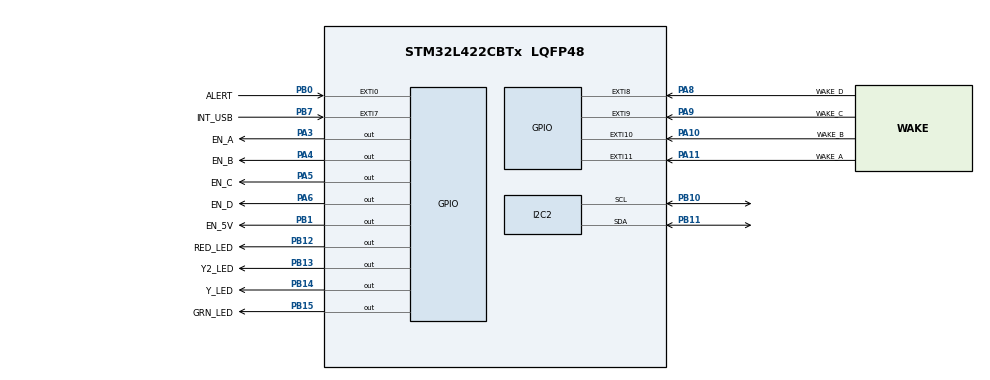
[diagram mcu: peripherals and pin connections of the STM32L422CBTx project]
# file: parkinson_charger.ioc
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I2C2.Timing=0x00100D14
Mcu.Family=STM32L4
Mcu.Name=STM32L422CBTx
Mcu.Package=LQFP48
NVIC.PriorityGroup=NVIC_PRIORITYGROUP_4
PA10.GPIO_Label=WAKE_B
PA10.GPIO_ModeDefaultEXTI=GPIO_MODE_IT_FALLING
PA10.Signal=GPXTI10
PA11.GPIO_Label=WAKE_A
PA11.GPIO_ModeDefaultEXTI=GPIO_MODE_IT_FALLING
PA11.Signal=GPXTI11
PA13\ (JTMS/SWDIO).Mode=Trace_Asynchronous_SW
PA13\ (JTMS/SWDIO).Signal=SYS_JTMS-SWDIO
PA14\ (JTCK/SWCLK).Mode=Trace_Asynchronous_SW
PA14\ (JTCK/SWCLK).Signal=SYS_JTCK-SWCLK
PA3.GPIO_Label=EN_A
PA3.PinState=GPIO_PIN_SET
PA3.Signal=GPIO_Output
PA4.GPIO_Label=EN_B
PA4.PinState=GPIO_PIN_SET
PA4.Signal=GPIO_Output
PA5.GPIO_Label=EN_C
PA5.PinState=GPIO_PIN_SET
PA5.Signal=GPIO_Output
PA6.GPIO_Label=EN_D
PA6.PinState=GPIO_PIN_SET
PA6.Signal=GPIO_Output
PA8.GPIO_Label=WAKE_D
PA8.GPIO_ModeDefaultEXTI=GPIO_MODE_IT_FALLING
PA8.Signal=GPXTI8
PA9.GPIO_Label=WAKE_C
PA9.GPIO_ModeDefaultEXTI=GPIO_MODE_IT_FALLING
PA9.Signal=GPXTI9
PB0.GPIO_Label=ALERT
PB0.Signal=GPXTI0
PB1.GPIO_Label=EN_5V
PB1.PinState=GPIO_PIN_SET
PB1.Signal=GPIO_Output
PB10.Mode=I2C
PB10.Signal=I2C2_SCL
PB11.Mode=I2C
PB11.Signal=I2C2_SDA
PB12.GPIO_Label=RED_LED
PB12.PinState=GPIO_PIN_SET
PB12.Signal=GPIO_Output
PB13.GPIO_Label=Y2_LED
PB13.PinState=GPIO_PIN_SET
PB13.Signal=GPIO_Output
PB14.GPIO_Label=Y_LED
PB14.PinState=GPIO_PIN_SET
PB14.Signal=GPIO_Output
PB15.GPIO_Label=GRN_LED
PB15.PinState=GPIO_PIN_SET
PB15.Signal=GPIO_Output
PB3\ (JTDO/TRACESWO).Mode=Trace_Asynchronous_SW
PB3\ (JTDO/TRACESWO).Signal=SYS_JTDO-SWO
PB7.GPIO_Label=INT_USB
PB7.GPIO_ModeDefaultEXTI=GPIO_MODE_IT_FALLING
PB7.Signal=GPXTI7
PC14-OSC32_IN\ (PC14).Mode=LSE-External-Oscillator
PC14-OSC32_IN\ (PC14).Signal=RCC_OSC32_IN
PC15-OSC32_OUT\ (PC15).Mode=LSE-External-Oscillator
PC15-OSC32_OUT\ (PC15).Signal=RCC_OSC32_OUT
PH0-OSC_IN\ (PH0).Mode=HSE-External-Oscillator
PH0-OSC_IN\ (PH0).Signal=RCC_OSC_IN
PH1-OSC_OUT\ (PH1).Mode=HSE-External-Oscillator
PH1-OSC_OUT\ (PH1).Signal=RCC_OSC_OUT
ProjectManager.HeapSize=0x200
ProjectManager.StackSize=0x400
ProjectManager.TargetToolchain=STM32CubeIDE
RCC.ADCFreq_Value=4000000
RCC.HSE_VALUE=8000000
RCC.HSI48_VALUE=48000000
RCC.HSI_VALUE=16000000
RCC.MSI_VALUE=4000000
RCC.USBFreq_Value=4000000
RCC.VCOOutputFreq_Value=32000000
board=custom

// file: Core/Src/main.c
/* USER CODE BEGIN Header */
/**
  ******************************************************************************
  * @file           : main.c
  * @brief          : Main program body
  ******************************************************************************
  * @attention
  *
  * Copyright (c) 2026 STMicroelectronics.
  * All rights reserved.
  *
  * This software is licensed under terms that can be found in the LICENSE file
  * in the root directory of this software component.
  * If no LICENSE file comes with this software, it is provided AS-IS.
  *
  ******************************************************************************
  */
/* USER CODE END Header */
#include "main.h"

/* USER CODE BEGIN Includes */
//#include "BQ34Z100R2_driver.h"
#include "BQ25890_driver.h"

/* USER CODE END Includes */

I2C_HandleTypeDef hi2c2;

/* USER CODE BEGIN PV */
//BQ34Z100Z battMonitor;
BQ25890 battChgr;

/* USER CODE END PV */

void SystemClock_Config(void);
static void MX_GPIO_Init(void);
static void MX_I2C2_Init(void);

int main(void)
{

  /* MCU Configuration--------------------------------------------------------*/

  /* Reset of all peripherals, Initializes the Flash interface and the Systick. */
  HAL_Init();

  /* Configure the system clock */
  SystemClock_Config();

  /* Initialize all configured peripherals */
  MX_GPIO_Init();
  MX_I2C2_Init();
  /* USER CODE BEGIN 2 */
  //port enable
  //the auto port fucntionality works, but
  //got only couple hours left so screw it
  //always on
  HAL_GPIO_WritePin(EN_5V_GPIO_Port, EN_5V_Pin, 1);
  HAL_GPIO_WritePin(EN_A_GPIO_Port, EN_A_Pin, 1);
  HAL_GPIO_WritePin(EN_B_GPIO_Port, EN_B_Pin, 1);
  HAL_GPIO_WritePin(EN_C_GPIO_Port, EN_C_Pin, 1);
  HAL_GPIO_WritePin(EN_D_GPIO_Port, EN_D_Pin, 1);

  // setup ics
  init_BQ25890(&battChgr, &hi2c2);

  HAL_Delay(1000);
  /* USER CODE END 2 */

  /* Infinite loop */
  while (1)
  {
	  uint16_t voltageTest = battChgr.battVoltage;
	  voltageTest = (voltageTest - 3200) * 100 / 1000;
	  Set_LEDs(voltageTest);
	  HAL_Delay(100);
  }
}

void SystemClock_Config(void)
{
  RCC_OscInitTypeDef RCC_OscInitStruct = {0};
  RCC_ClkInitTypeDef RCC_ClkInitStruct = {0};

  /** Configure the main internal regulator output voltage
  */
  if (HAL_PWREx_ControlVoltageScaling(PWR_REGULATOR_VOLTAGE_SCALE1) != HAL_OK)
  {
    Error_Handler();
  }

  /** Configure LSE Drive Capability
  */
  HAL_PWR_EnableBkUpAccess();
  __HAL_RCC_LSEDRIVE_CONFIG(RCC_LSEDRIVE_LOW);

  /** Initializes the RCC Oscillators according to the specified parameters
  * in the RCC_OscInitTypeDef structure.
  */
  RCC_OscInitStruct.OscillatorType = RCC_OSCILLATORTYPE_LSE|RCC_OSCILLATORTYPE_MSI;
  RCC_OscInitStruct.LSEState = RCC_LSE_ON;
  RCC_OscInitStruct.MSIState = RCC_MSI_ON;
  RCC_OscInitStruct.MSICalibrationValue = 0;
  RCC_OscInitStruct.MSIClockRange = RCC_MSIRANGE_6;
  RCC_OscInitStruct.PLL.PLLState = RCC_PLL_NONE;
  if (HAL_RCC_OscConfig(&RCC_OscInitStruct) != HAL_OK)
  {
    Error_Handler();
  }

  /** Initializes the CPU, AHB and APB buses clocks
  */
  RCC_ClkInitStruct.ClockType = RCC_CLOCKTYPE_HCLK|RCC_CLOCKTYPE_SYSCLK
                              |RCC_CLOCKTYPE_PCLK1|RCC_CLOCKTYPE_PCLK2;
  RCC_ClkInitStruct.SYSCLKSource = RCC_SYSCLKSOURCE_MSI;
  RCC_ClkInitStruct.AHBCLKDivider = RCC_SYSCLK_DIV1;
  RCC_ClkInitStruct.APB1CLKDivider = RCC_HCLK_DIV1;
  RCC_ClkInitStruct.APB2CLKDivider = RCC_HCLK_DIV1;

  if (HAL_RCC_ClockConfig(&RCC_ClkInitStruct, FLASH_LATENCY_0) != HAL_OK)
  {
    Error_Handler();
  }

  /** Enable MSI Auto calibration
  */
  HAL_RCCEx_EnableMSIPLLMode();
}

static void MX_I2C2_Init(void)
{

  hi2c2.Instance = I2C2;
  hi2c2.Init.Timing = 0x00100D14;
  hi2c2.Init.OwnAddress1 = 0;
  hi2c2.Init.AddressingMode = I2C_ADDRESSINGMODE_7BIT;
  hi2c2.Init.DualAddressMode = I2C_DUALADDRESS_DISABLE;
  hi2c2.Init.OwnAddress2 = 0;
  hi2c2.Init.OwnAddress2Masks = I2C_OA2_NOMASK;
  hi2c2.Init.GeneralCallMode = I2C_GENERALCALL_DISABLE;
  hi2c2.Init.NoStretchMode = I2C_NOSTRETCH_DISABLE;
  if (HAL_I2C_Init(&hi2c2) != HAL_OK)
  {
    Error_Handler();
  }

  /** Configure Analogue filter
  */
  if (HAL_I2CEx_ConfigAnalogFilter(&hi2c2, I2C_ANALOGFILTER_ENABLE) != HAL_OK)
  {
    Error_Handler();
  }

  /** Configure Digital filter
  */
  if (HAL_I2CEx_ConfigDigitalFilter(&hi2c2, 0) != HAL_OK)
  {
    Error_Handler();
  }

}

static void MX_GPIO_Init(void)
{
  GPIO_InitTypeDef GPIO_InitStruct = {0};

  /* GPIO Ports Clock Enable */
  __HAL_RCC_GPIOC_CLK_ENABLE();
  __HAL_RCC_GPIOH_CLK_ENABLE();
  __HAL_RCC_GPIOA_CLK_ENABLE();
  __HAL_RCC_GPIOB_CLK_ENABLE();

  /*Configure GPIO pin Output Level */
  HAL_GPIO_WritePin(GPIOA, EN_A_Pin|EN_B_Pin|EN_C_Pin|EN_D_Pin, GPIO_PIN_SET);

  /*Configure GPIO pin Output Level */
  HAL_GPIO_WritePin(GPIOB, EN_5V_Pin|RED_LED_Pin|Y2_LED_Pin|Y_LED_Pin
                          |GRN_LED_Pin, GPIO_PIN_SET);

  /*Configure GPIO pins : EN_A_Pin EN_B_Pin EN_C_Pin EN_D_Pin */
  GPIO_InitStruct.Pin = EN_A_Pin|EN_B_Pin|EN_C_Pin|EN_D_Pin;
  GPIO_InitStruct.Mode = GPIO_MODE_OUTPUT_PP;
  GPIO_InitStruct.Pull = GPIO_NOPULL;
  GPIO_InitStruct.Speed = GPIO_SPEED_FREQ_LOW;
  HAL_GPIO_Init(GPIOA, &GPIO_InitStruct);

  /*Configure GPIO pin : ALERT_Pin */
  GPIO_InitStruct.Pin = ALERT_Pin;
  GPIO_InitStruct.Mode = GPIO_MODE_IT_RISING;
  GPIO_InitStruct.Pull = GPIO_NOPULL;
  HAL_GPIO_Init(ALERT_GPIO_Port, &GPIO_InitStruct);

  /*Configure GPIO pins : EN_5V_Pin RED_LED_Pin Y2_LED_Pin Y_LED_Pin
                           GRN_LED_Pin */
  GPIO_InitStruct.Pin = EN_5V_Pin|RED_LED_Pin|Y2_LED_Pin|Y_LED_Pin
                          |GRN_LED_Pin;
  GPIO_InitStruct.Mode = GPIO_MODE_OUTPUT_PP;
  GPIO_InitStruct.Pull = GPIO_NOPULL;
  GPIO_InitStruct.Speed = GPIO_SPEED_FREQ_LOW;
  HAL_GPIO_Init(GPIOB, &GPIO_InitStruct);

  /*Configure GPIO pins : WAKE_D_Pin WAKE_C_Pin WAKE_B_Pin WAKE_A_Pin */
  GPIO_InitStruct.Pin = WAKE_D_Pin|WAKE_C_Pin|WAKE_B_Pin|WAKE_A_Pin;
  GPIO_InitStruct.Mode = GPIO_MODE_IT_FALLING;
  GPIO_InitStruct.Pull = GPIO_NOPULL;
  HAL_GPIO_Init(GPIOA, &GPIO_InitStruct);

  /*Configure GPIO pin : INT_USB_Pin */
  GPIO_InitStruct.Pin = INT_USB_Pin;
  GPIO_InitStruct.Mode = GPIO_MODE_IT_FALLING;
  GPIO_InitStruct.Pull = GPIO_NOPULL;
  HAL_GPIO_Init(INT_USB_GPIO_Port, &GPIO_InitStruct);

}

/* USER CODE BEGIN 4 */

void Set_LEDs(uint16_t percent)
{
	if(percent > 75){
		HAL_GPIO_WritePin(GRN_LED_GPIO_Port, GRN_LED_Pin, 1);
		HAL_GPIO_WritePin(Y_LED_GPIO_Port, Y_LED_Pin, 1);
		HAL_GPIO_WritePin(Y2_LED_GPIO_Port, Y2_LED_Pin, 1);
		HAL_GPIO_WritePin(RED_LED_GPIO_Port, RED_LED_Pin, 1);
	}else if(percent <=75 && percent > 50){
		HAL_GPIO_WritePin(GRN_LED_GPIO_Port, GRN_LED_Pin, 0);
		HAL_GPIO_WritePin(Y_LED_GPIO_Port, Y_LED_Pin, 1);
		HAL_GPIO_WritePin(Y2_LED_GPIO_Port, Y2_LED_Pin, 1);
		HAL_GPIO_WritePin(RED_LED_GPIO_Port, RED_LED_Pin, 1);

	}else if(percent <=50 && percent > 25){
		HAL_GPIO_WritePin(GRN_LED_GPIO_Port, GRN_LED_Pin, 0);
		HAL_GPIO_WritePin(Y_LED_GPIO_Port, Y_LED_Pin, 0);
		HAL_GPIO_WritePin(Y2_LED_GPIO_Port, Y2_LED_Pin, 1);
		HAL_GPIO_WritePin(RED_LED_GPIO_Port, RED_LED_Pin, 1);
	}else{
		HAL_GPIO_WritePin(GRN_LED_GPIO_Port, GRN_LED_Pin, 0);
		HAL_GPIO_WritePin(Y_LED_GPIO_Port, Y_LED_Pin, 0);
		HAL_GPIO_WritePin(Y2_LED_GPIO_Port, Y2_LED_Pin, 0);
		HAL_GPIO_WritePin(RED_LED_GPIO_Port, RED_LED_Pin, 1);
	}

}

void HAL_GPIO_EXTI_Callback(uint16_t GPIO_Pin)
{

  if(GPIO_Pin == INT_USB_Pin)
  {
	  BQ25890_Read_Faults(&battChgr);
	  BQ25890_Enable_Charge(&battChgr);

  } else {
      __NOP();
  }

}

/* USER CODE END 4 */

void Error_Handler(void)
{
  __disable_irq();
  while (1)
  {
  }
}
